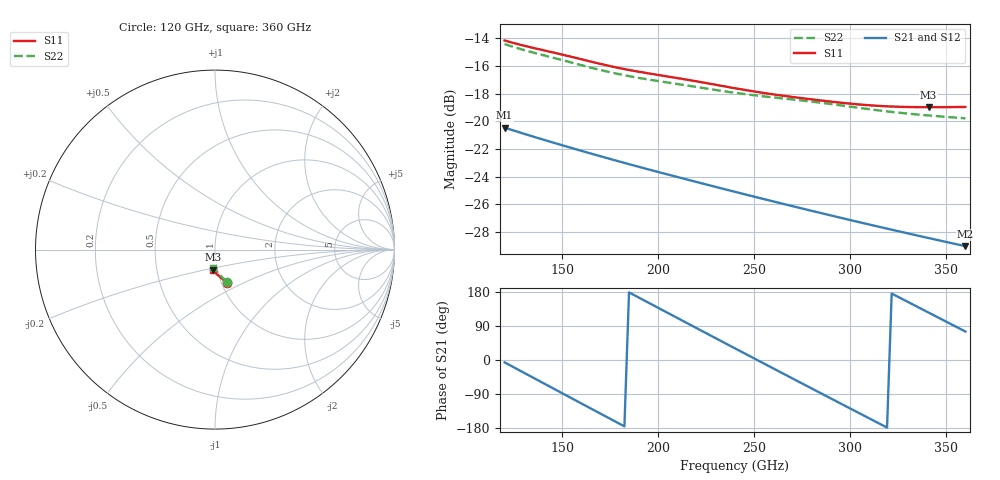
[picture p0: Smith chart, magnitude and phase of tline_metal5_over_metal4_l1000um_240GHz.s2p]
#  GHZ S DB R 50
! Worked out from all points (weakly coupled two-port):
!   101 points, 120 GHz to 360 GHz, reference 50 ohm
!   highest |S21| = -20.46 dB at 120 GHz (marker M1); lowest = -29.0 dB at 360 GHz (marker M2)
!   lowest |S11| = -19.0 dB at 340.8 GHz (marker M3), VSWR 1.25, Z = 47.9 - j10.9 ohm
!   |S11| at or under -10 dB: start of sweep to end of sweep
!   |S22| runs from -19.8 to -14.4 dB; largest |S21 - S12| = 8.3e-14
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120  -14.17 -69.9  -20.46 -6.3  -20.46 -6.3  -14.42 -70.1
132  -14.61 -71.5  -20.98 -38.9  -20.98 -38.9  -14.93 -71.4
141.6  -14.92 -73.1  -21.39 -64.9  -21.39 -64.9  -15.28 -72.8
151.2  -15.23 -74.8  -21.78 -90.9  -21.78 -90.9  -15.63 -74.2
160.8  -15.55 -76.5  -22.16 -116.9  -22.16 -116.9  -15.98 -75.5
170.4  -15.87 -78.0  -22.54 -142.8  -22.54 -142.8  -16.32 -76.7
180  -16.17 -79.3  -22.91 -168.6  -22.91 -168.6  -16.61 -77.6
189.6  -16.42 -80.5  -23.28 165.5  -23.28 165.5  -16.86 -78.5
201.6  -16.69 -82.2  -23.72 133.4  -23.72 133.4  -17.13 -79.8
211.2  -16.91 -83.6  -24.07 107.6  -24.07 107.6  -17.34 -81.0
220.8  -17.14 -85.1  -24.41 81.9  -24.41 81.9  -17.54 -82.2
230.4  -17.38 -86.4  -24.75 56.3  -24.75 56.3  -17.75 -83.3
240  -17.62 -87.6  -25.09 30.7  -25.09 30.7  -17.94 -84.3
249.6  -17.84 -88.6  -25.43 5.2  -25.43 5.2  -18.12 -85.3
259.2  -18.04 -89.4  -25.76 -20.3  -25.76 -20.3  -18.27 -86.4
271.2  -18.27 -90.4  -26.17 -52.0  -26.17 -52.0  -18.45 -87.8
280.8  -18.43 -91.2  -26.49 -77.4  -26.49 -77.4  -18.60 -89.0
290.4  -18.59 -91.9  -26.81 -102.7  -26.81 -102.7  -18.77 -90.2
302.4  -18.76 -92.6  -27.21 -134.3  -27.21 -134.3  -18.99 -91.6
321.6  -18.94 -93.4  -27.82 175.4  -27.82 175.4  -19.32 -93.2
340.8  -18.98 -94.4  -28.43 125.2  -28.43 125.2  -19.58 -94.6
360  -18.97 -95.9  -29.01 75.2  -29.01 75.2  -19.79 -96.1
